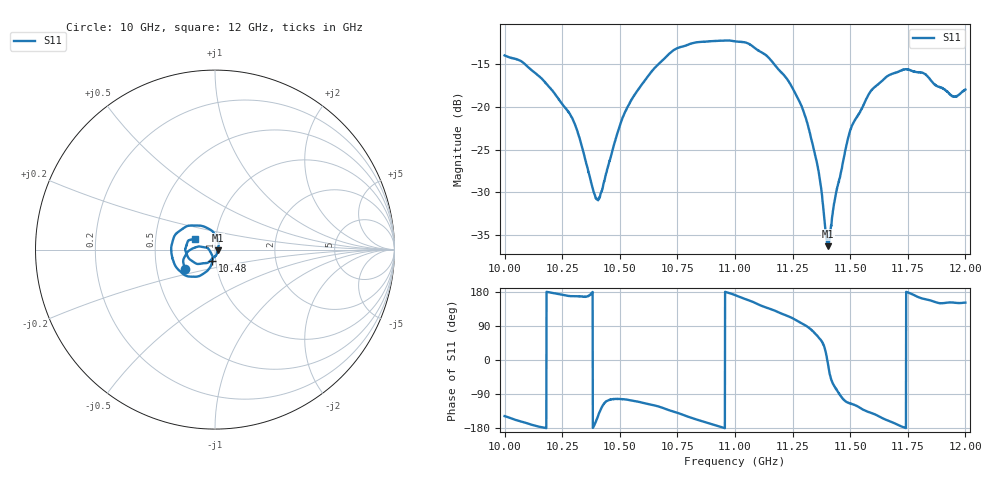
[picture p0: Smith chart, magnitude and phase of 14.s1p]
[Version] 2.0
! Rohde & Schwarz Vector Network Analyzer
! Rohde-Schwarz,ZNL20-2Port,1323001220200009,1.71.1.10-23.02.1.238
! Port Assignments:
! Nominal Port -> Actual Test Port
!  1 -> 1
! Created: GMT 2024-08-27 12:53:23
# Hz S DB R 50
[Number of Ports] 1
! freq[Hz]  S11[mag dB]  S11[ang]
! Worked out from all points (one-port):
!   2001 points, 10 GHz to 12 GHz, reference 50 ohm
!   lowest |S11| = -36.3 dB at 11.4 GHz (marker M1), VSWR 1.03, Z = 51.5 - j0.472 ohm
!   |S11| at or under -10 dB: start of sweep to end of sweep
!   S11 on the Smith chart (normalised r, x): 10 GHz: 0.70, -0.15; 10.48 GHz: 0.97, -0.12; 12 GHz: 0.80, +0.10
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[Number of Frequencies] 28
[Network Data]
1e10  -13.99 -148.1
1.0084e10  -14.92 -164.5
1.025e10  -19.67 172.1
1.0307e10  -22.15 168.3
1.0401e10  -30.80 -154.7
1.042e10  -29.96 -126.2
1.0479e10  -24.02 -102.9
1.05e10  -22.16 -102.9
1.0546e10  -19.41 -106.3
1.062e10  -16.49 -115.9
1.075e10  -13.13 -139.5
1.0855e10  -12.40 -160.9
1.1e10  -12.35 171.3
1.1136e10  -14.01 138.2
1.125e10  -17.81 110.1
1.1299e10  -20.65 93.8
1.1341e10  -24.84 74.2
1.1366e10  -28.02 57.2
1.1395e10  -35.08 17.5
1.1405e10  -36.28 -17.4
1.1438e10  -30.14 -75.4
1.15e10  -22.73 -114.9
1.1598e10  -17.89 -141.2
1.1667e10  -16.31 -160.3
1.175e10  -15.65 178.4
1.1822e10  -16.12 161.0
1.1946e10  -18.79 151.7
1.2e10  -17.98 151.4
[End]
